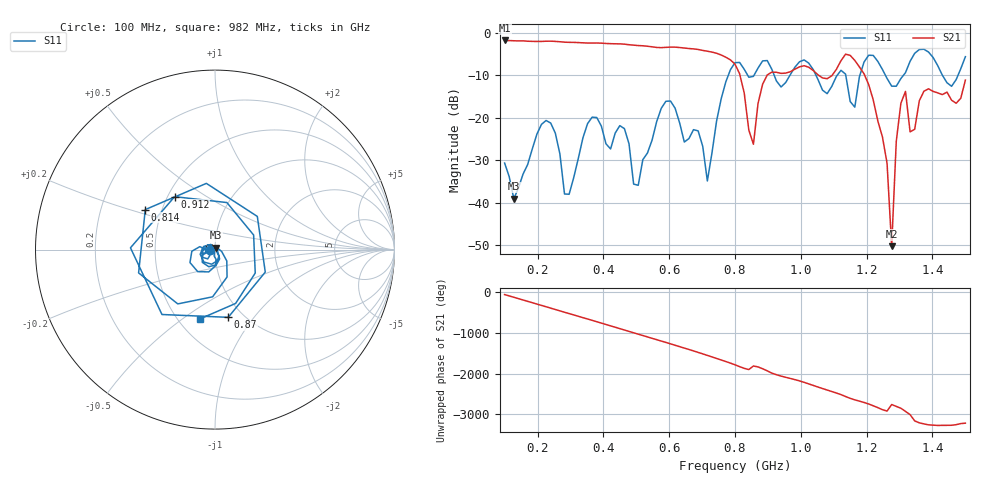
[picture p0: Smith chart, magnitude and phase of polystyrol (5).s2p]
! NanoVNA-App
! Date: 2025-09-25 15:29:56
! Start: 100MHz Stop: 1,5GHz Points: 101
! S-Parameter data: F S11 S21 S12 S22
# Hz S RI R 50
!  Frequency  S11_Real  S11_Imag  S21_Real  S21_Imag  S12_Real  S12_Imag  S22_Real  S22_Imag
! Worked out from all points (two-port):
!   101 points, 100 MHz to 1.5 GHz, reference 50 ohm
!   highest |S21| = -1.80 dB at 100 MHz (marker M1); lowest = -50.3 dB at 1.276 GHz (marker M2)
!   |S21| within 3 dB of the highest: start of sweep to 743 MHz
!   lowest |S11| = -39.1 dB at 128 MHz (marker M3), VSWR 1.02, Z = 50.3 + j1.06 ohm
!   |S11| at or under -10 dB: start of sweep to 779.7 MHz; 1.046 GHz to 1.111 GHz (64.75 MHz wide, 6.01 % of centre); 1.257 GHz to 1.312 GHz (54.86 MHz wide, 4.27 % of centre) (the widest 3 of 7)
!   S12 and S22 are empty: the file has one direction only
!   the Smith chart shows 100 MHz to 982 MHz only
!   S11 on the Smith chart (normalised r, x): 100 MHz: 0.94, -0.01; 814 MHz: 0.40, +0.23; 870 MHz: 0.85, -0.75; 912 MHz: 0.54, +0.37; 982 MHz: 0.64, -0.58
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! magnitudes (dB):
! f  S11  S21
! 100 MHz  -30.7  -1.8
! 128 MHz  -39.1  -1.9
! 212 MHz  -21.6  -2.0
! 282 MHz  -38.0  -2.2
! 338 MHz  -24.7  -2.4
! 464 MHz  -22.6  -2.7
! 506 MHz  -35.9  -3.0
! 576 MHz  -17.8  -3.5
! 716 MHz  -34.9  -4.3
! 800 MHz  -7.0  -7.4
! 814 MHz  -7.0  -9.6
! 856 MHz  -10.3  -26.3
! 870 MHz  -8.3  -16.7
! 912 MHz  -8.6  -9.3
! 982 MHz  -8.1  -8.6
! 1.038 GHz  -8.7  -8.9
! 1.192 GHz  -6.9  -9.7
! 1.262 GHz  -10.8  -30.8
! 1.276 GHz  -12.6  -50.3
! 1.29 GHz  -12.6  -25.6
! 1.318 GHz  -9.4  -13.8
! 1.5 GHz  -5.6  -11.1
